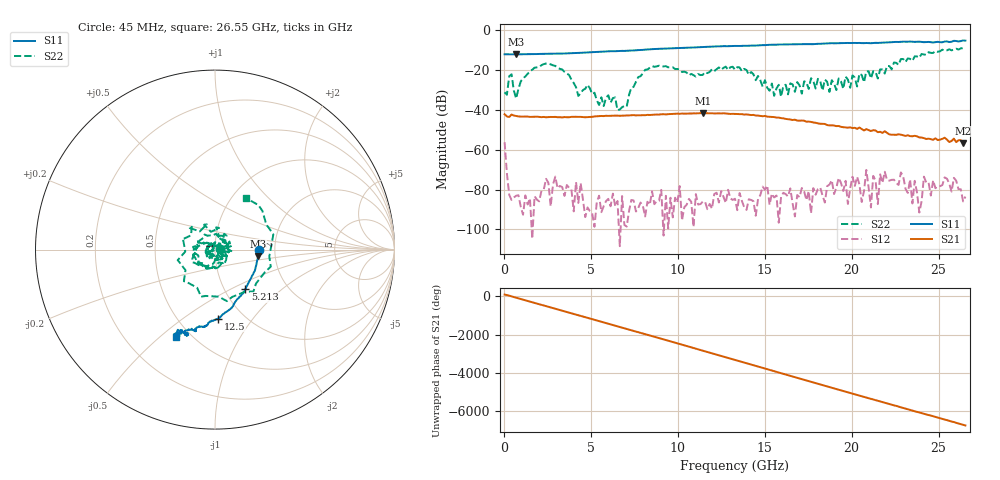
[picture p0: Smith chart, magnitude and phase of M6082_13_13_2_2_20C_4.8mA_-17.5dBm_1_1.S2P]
!  2-Port S-parameters saved by WinCal
! VAR MeasName=S-Parameters (CALIBRATED_DATA) read from VNA (C)
! VAR MeasDate=10/16/2015 10:57:27 AM
! VAR NAME=M6082_13_13_2_2_20C_4.8mA_-17.5dBm
! VAR FILENAME=M6082_13_13_2_2_20C_4.8mA_-17.5dBm_1_1.S2P
! VAR DATE=10/16/2015 10:57:27 AM
! VAR PHYS_PORTS=2,1
! VAR ObjTypeName=DATASET
! VAR IndexType=Frequency
# Hz S DB R 50
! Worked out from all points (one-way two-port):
!   201 points, 45 MHz to 26.55 GHz, reference 50 ohm
!   highest |S21| = -41.78 dB at 11.44 GHz (marker M1); lowest = -56.7 dB at 26.41 GHz (marker M2)
!   lowest |S11| = -12.3 dB at 707.5 MHz (marker M3), VSWR 1.64, Z = 81.2 - j6.01 ohm
!   |S11| at or under -10 dB: start of sweep to 8.079 GHz
!   |S22| runs from -40.3 to -9.2 dB; largest |S21 - S12| = 0.0082
!   S11 on the Smith chart (normalised r, x): 45 MHz: 1.64, -0.00; 5.213 GHz: 1.25, -0.60; 12.5 GHz: 0.76, -0.69; 26.55 GHz: 0.42, -0.57
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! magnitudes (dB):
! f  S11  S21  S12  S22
! 45 MHz  -12.3  -42.3  -56.3  -31.3
! 310 MHz  -12.3  -43.7  -82.6  -23.3
! 707.5 MHz  -12.3  -43.2  -83.1  -34.4
! 2.43 GHz  -12.0  -43.8  -74.7  -16.9
! 4.55 GHz  -11.5  -43.7  -85.0  -30.2
! 5.213 GHz  -11.1  -43.4  -98.7  -31.5
! 6.67 GHz  -10.6  -43.1  -108.4  -39.9
! 8.922 GHz  -9.5  -42.5  -85.7  -18.0
! 11.44 GHz  -8.6  -41.8  -86.1  -22.6
! 12.5 GHz  -8.3  -41.9  -80.8  -20.0
! 13.29 GHz  -8.1  -42.1  -84.6  -20.0
! 15.55 GHz  -7.5  -43.7  -84.0  -33.1
! 17.8 GHz  -7.2  -46.4  -79.3  -25.7
! 20.32 GHz  -6.6  -49.6  -73.7  -28.4
! 20.58 GHz  -6.7  -49.7  -86.3  -22.7
! 20.85 GHz  -6.6  -49.8  -70.2  -20.9
! 21.11 GHz  -6.8  -50.7  -89.0  -24.3
! 21.25 GHz  -6.7  -50.3  -73.2  -20.7
! 21.51 GHz  -6.6  -51.3  -87.3  -24.4
! 22.17 GHz  -6.3  -52.4  -75.6  -18.2
! 26.41 GHz  -5.4  -56.7  -86.0  -9.2
! 26.55 GHz  -5.5  -55.9  -83.5  -9.5
